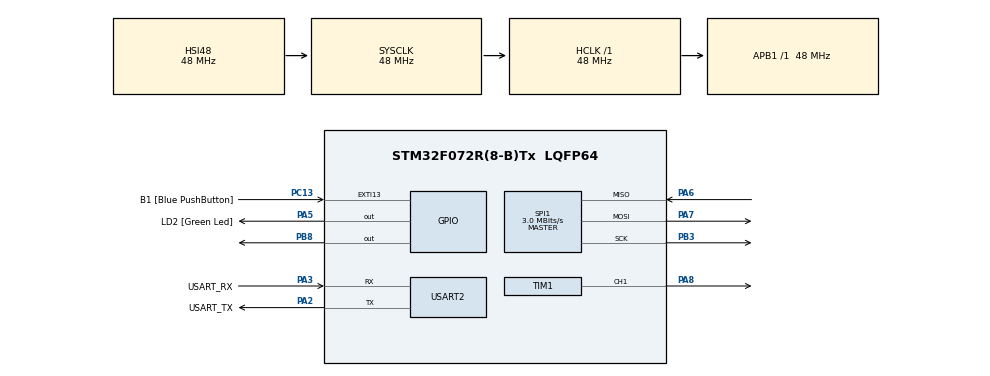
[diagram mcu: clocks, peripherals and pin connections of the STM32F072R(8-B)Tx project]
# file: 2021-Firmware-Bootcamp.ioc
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Mcu.Family=STM32F0
Mcu.Name=STM32F072R(8-B)Tx
Mcu.Package=LQFP64
PA13.GPIO_Label=TMS
PA13.Mode=Serial_Wire
PA13.Signal=SYS_SWDIO
PA14.GPIO_Label=TCK
PA14.Mode=Serial_Wire
PA14.Signal=SYS_SWCLK
PA2.GPIO_Label=USART_TX
PA2.GPIO_Mode=GPIO_MODE_AF_PP
PA2.GPIO_PuPd=GPIO_NOPULL
PA2.GPIO_Speed=GPIO_SPEED_FREQ_LOW
PA2.Mode=Asynchronous
PA2.Signal=USART2_TX
PA3.GPIO_Label=USART_RX
PA3.GPIO_Mode=GPIO_MODE_AF_PP
PA3.GPIO_PuPd=GPIO_NOPULL
PA3.GPIO_Speed=GPIO_SPEED_FREQ_LOW
PA3.Mode=Asynchronous
PA3.Signal=USART2_RX
PA5.GPIO_Label=LD2 [Green Led]
PA5.GPIO_Mode=GPIO_MODE_OUTPUT_PP
PA5.GPIO_PuPd=GPIO_NOPULL
PA5.GPIO_Speed=GPIO_SPEED_FREQ_LOW
PA5.Signal=GPIO_Output
PA6.Mode=Full_Duplex_Master
PA6.Signal=SPI1_MISO
PA7.Mode=Full_Duplex_Master
PA7.Signal=SPI1_MOSI
PA8.Signal=S_TIM1_CH1
PB3.Mode=Full_Duplex_Master
PB3.Signal=SPI1_SCK
PB8.Signal=GPIO_Output
PC13.GPIO_Label=B1 [Blue PushButton]
PC13.GPIO_ModeDefaultEXTI=GPIO_MODE_IT_FALLING
PC13.Signal=GPXTI13
PC14-OSC32_IN.Mode=LSE-External-Oscillator
PC14-OSC32_IN.Signal=RCC_OSC32_IN
PC15-OSC32_OUT.Mode=LSE-External-Oscillator
PC15-OSC32_OUT.Signal=RCC_OSC32_OUT
PF0-OSC_IN.Mode=HSE-External-Clock-Source
PF0-OSC_IN.Signal=RCC_OSC_IN
PF1-OSC_OUT.Signal=RCC_OSC_OUT
ProjectManager.HeapSize=0x200
ProjectManager.StackSize=0x400
ProjectManager.TargetToolchain=STM32CubeIDE
RCC.AHBFreq_Value=48000000
RCC.APB1Freq_Value=48000000
RCC.APB1TimFreq_Value=48000000
RCC.FLatency-AdvancedSettings=FLASH_LATENCY_1
RCC.HCLKFreq_Value=48000000
RCC.PLLDivider=RCC_PREDIV_DIV2
RCC.PLLMUL=RCC_PLL_MUL12
RCC.PREFETCH_ENABLE-AdvancedSettings=1
RCC.SYSCLKFreq_VALUE=48000000
RCC.SYSCLKSource=RCC_SYSCLKSOURCE_HSI48
SH.S_TIM1_CH1.0=TIM1_CH1,PWM Generation1 CH1
SPI1.BaudRatePrescaler=SPI_BAUDRATEPRESCALER_16
SPI1.CLKPhase=SPI_PHASE_2EDGE
SPI1.CalculateBaudRate=3.0 MBits/s
SPI1.DataSize=SPI_DATASIZE_8BIT
SPI1.Direction=SPI_DIRECTION_2LINES
SPI1.Mode=SPI_MODE_MASTER
SPI1.VirtualType=VM_MASTER
TIM1.Channel-PWM\ Generation1\ CH1=TIM_CHANNEL_1
TIM1.Period=10000
TIM1.Prescaler=95
USART2.VirtualMode=VM_ASYNC
USART2.VirtualMode-Asynchronous=VM_ASYNC
VP_TIM1_VS_ClockSourceINT.Mode=Internal
board=NUCLEO-F072RB

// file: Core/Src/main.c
/* USER CODE BEGIN Header */
/**
  ******************************************************************************
  * @file           : main.c
  * @brief          : Main program body
  ******************************************************************************
  * @attention
  *
  * Copyright (c) 2024 STMicroelectronics.
  * All rights reserved.
  *
  * This software is licensed under terms that can be found in the LICENSE file
  * in the root directory of this software component.
  * If no LICENSE file comes with this software, it is provided AS-IS.
  *
  ******************************************************************************
  */
/* USER CODE END Header */
#include "main.h"
#include "spi.h"
#include "tim.h"
#include "usart.h"
#include "gpio.h"

void SystemClock_Config(void);

/* USER CODE BEGIN 0 */
// Get counts from ADC value
uint16_t get_counts_from_adc_val(uint16_t adcval)
{
	// Proportion (0-1) of the ADC
	const double prop = (double)adcval / 1023.0;

	// The maximum count is 10000, corresponding to 100% duty
	#define MAX_COUNT 10000
	// Counts at 5% duty (servo min)
	#define MIN_DUTY_C 0.05 * MAX_COUNT
	// Counts at 10% duty (servo max)
	#define MAX_DUTY_C 0.10 * MAX_COUNT
	// Difference between the counts at max and min duties
	#define RANGE_DUTY_C MAX_DUTY_C - MIN_DUTY_C

	const double res = MIN_DUTY_C + prop * RANGE_DUTY_C;

	return (uint16_t)res;
}

/* USER CODE END 0 */

int main(void)
{

  /* MCU Configuration--------------------------------------------------------*/

  /* Reset of all peripherals, Initializes the Flash interface and the Systick. */
  HAL_Init();

  /* Configure the system clock */
  SystemClock_Config();

  /* Initialize all configured peripherals */
  MX_GPIO_Init();
  MX_USART2_UART_Init();
  MX_SPI1_Init();
  MX_TIM1_Init();
  /* USER CODE BEGIN 2 */
  // Transmission data buffer
  // First byte contains start bit (0b1)
  // Second byte contains configure bits (2nd bit from the left is a "don't-care")
  // -> 0b1000 = Measuring voltage passively at CH0 (instead of differentially across 2 channels)
  // (the last byte is a "don't-care")
  uint8_t tx_buff = {0b1, 0b1000, 0};
  // Reception data buffer
  uint8_t rx_buff[3];
  // 10-bit integer provided by ADC
  uint16_t adc_val;
  // Number of counts to pass to the timer
  uint16_t res_counts;

  // Start the PWM
  HAL_TIM_PWM_Start(&htim1, TIM_CHANNEL_1);
  /* USER CODE END 2 */

  /* Infinite loop */
  while (1)
  {

    /* USER CODE BEGIN 3 */
	  // 1. Pull CS line low
	  HAL_GPIO_WritePin(GPIOB, GPIO_PIN_8, GPIO_PIN_RESET);

	  // 2. Read bytes from ADC
	  HAL_SPI_TransmitReceive(&hspi1, tx_buff, rx_buff, 3, 1000);

	  // 3. Pull CS line high
	  HAL_GPIO_WritePin(GPIOB, GPIO_PIN_8, GPIO_PIN_SET);

	  // 4. Get ADC's 10-bit value
	  adc_val = ((rx_buff[1] & 0b11) << 8) | rx_buff[2];

	  // 5. Convert ADC value to timer compare value
	  res_counts = get_counts_from_adc_val(adcval);

	  // 6. Apply PWM to servo motor
	  __HAL_TIM_SET_COMPARE(&htim1, TIM_CHANNEL_1, res_counts);
	HAL_Delay(10);
  }
  /* USER CODE END 3 */
}

void SystemClock_Config(void)
{
  RCC_OscInitTypeDef RCC_OscInitStruct = {0};
  RCC_ClkInitTypeDef RCC_ClkInitStruct = {0};
  RCC_PeriphCLKInitTypeDef PeriphClkInit = {0};

  /** Initializes the RCC Oscillators according to the specified parameters
  * in the RCC_OscInitTypeDef structure.
  */
  RCC_OscInitStruct.OscillatorType = RCC_OSCILLATORTYPE_HSI48;
  RCC_OscInitStruct.HSI48State = RCC_HSI48_ON;
  RCC_OscInitStruct.PLL.PLLState = RCC_PLL_NONE;
  if (HAL_RCC_OscConfig(&RCC_OscInitStruct) != HAL_OK)
  {
    Error_Handler();
  }

  /** Initializes the CPU, AHB and APB buses clocks
  */
  RCC_ClkInitStruct.ClockType = RCC_CLOCKTYPE_HCLK|RCC_CLOCKTYPE_SYSCLK
                              |RCC_CLOCKTYPE_PCLK1;
  RCC_ClkInitStruct.SYSCLKSource = RCC_SYSCLKSOURCE_HSI48;
  RCC_ClkInitStruct.AHBCLKDivider = RCC_SYSCLK_DIV1;
  RCC_ClkInitStruct.APB1CLKDivider = RCC_HCLK_DIV1;

  if (HAL_RCC_ClockConfig(&RCC_ClkInitStruct, FLASH_LATENCY_1) != HAL_OK)
  {
    Error_Handler();
  }
  PeriphClkInit.PeriphClockSelection = RCC_PERIPHCLK_USART2;
  PeriphClkInit.Usart2ClockSelection = RCC_USART2CLKSOURCE_PCLK1;
  if (HAL_RCCEx_PeriphCLKConfig(&PeriphClkInit) != HAL_OK)
  {
    Error_Handler();
  }
}

void Error_Handler(void)
{
  __disable_irq();
  while (1)
  {
  }
}
